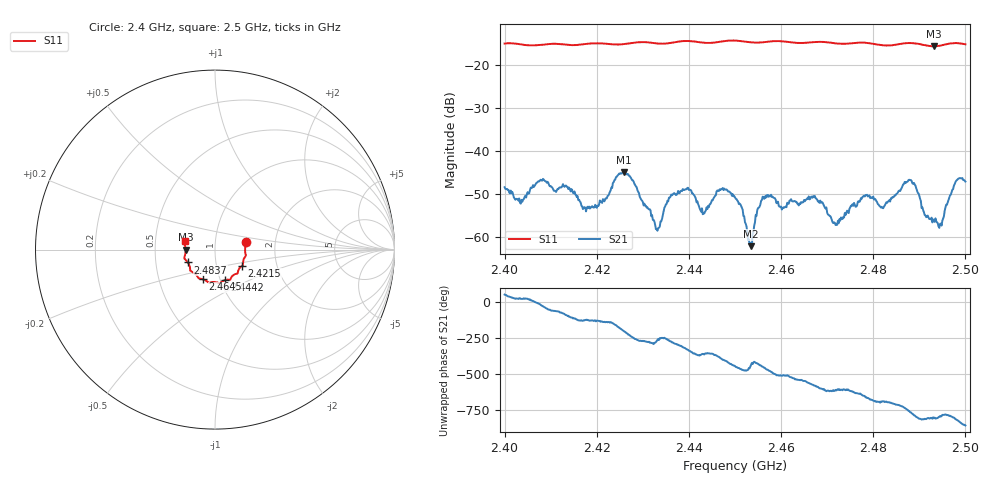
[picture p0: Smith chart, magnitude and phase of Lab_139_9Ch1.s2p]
# Hz S RI R 50
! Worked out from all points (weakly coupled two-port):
!   601 points, 2.4 GHz to 2.5 GHz, reference 50 ohm
!   highest |S21| = -45.01 dB at 2.4258 GHz (marker M1); lowest = -62.2 dB at 2.4535 GHz (marker M2)
!   lowest |S11| = -15.7 dB at 2.4932 GHz (marker M3), VSWR 1.39, Z = 36 - j0.0546 ohm
!   |S11| at or under -10 dB: start of sweep to end of sweep
!   S12 and S22 are empty: the file has one direction only
!   S11 on the Smith chart (normalised r, x): 2.4 GHz: 1.41, +0.12; 2.4215 GHz: 1.33, -0.25; 2.4442 GHz: 1.05, -0.37; 2.4645 GHz: 0.83, -0.29; 2.4837 GHz: 0.73, -0.11; 2.5 GHz: 0.71, +0.07
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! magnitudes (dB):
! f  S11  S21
! 2.4 GHz  -15.1  -48.5
! 2.4035 GHz  -15.3  -52.3
! 2.4083 GHz  -15.4  -46.5
! 2.4167 GHz  -15.3  -52.8
! 2.4215 GHz  -15.1  -51.4
! 2.4258 GHz  -15.2  -45.0
! 2.4333 GHz  -15.1  -58.0
! 2.4358 GHz  -15.0  -50.9
! 2.4392 GHz  -14.5  -49.0
! 2.4442 GHz  -15.0  -52.8
! 2.45 GHz  -14.4  -50.8
! 2.4535 GHz  -14.8  -62.2
! 2.4563 GHz  -14.8  -51.2
! 2.4645 GHz  -15.0  -52.0
! 2.4667 GHz  -14.8  -50.7
! 2.4717 GHz  -15.0  -56.8
! 2.4782 GHz  -14.9  -50.6
! 2.4833 GHz  -15.6  -51.7
! 2.4837 GHz  -15.5  -51.8
! 2.4882 GHz  -15.0  -46.8
! 2.4932 GHz  -15.7  -56.2
! 2.5 GHz  -15.3  -47.2
